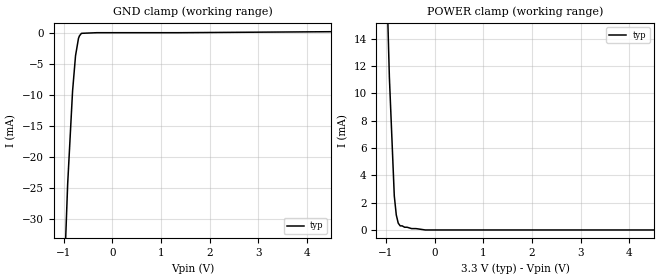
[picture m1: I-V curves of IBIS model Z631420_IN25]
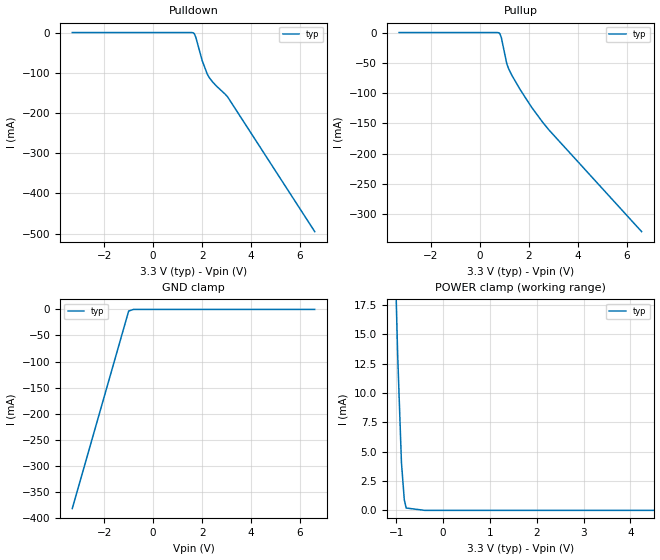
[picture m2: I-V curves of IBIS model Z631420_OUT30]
| YOU ARE ONLY AUTHORIZED TO USE THIS SOFTWARE
| ACCORDING TO LICENSOR'S LICENSE RESTRICTIONS.
[IBIS Ver] 3.1
[File Name] mc100ep451fa_33.ibs
[File Rev] 1
[Source] Derived from MC10EP016FA_33 Measured created by ICX Technology
[Date] 2/20/2004
[Copyright]
| (C) COPYRIGHT 1993-2000
| MENTOR GRAPHICS CORPORATION
| ICX STANDARD LIBRARY, ICX PROJECT MODELING,
| ICX CUSTOM MODELING, ICX VENDOR MODEL
| ALL RIGHTS RESERVED.
| THE FOLLOWING ARE TRADEMARKS OR SERVICE MARKS OF
| MENTOR GRAPHICS CORPORATION:ICX (R), ICX STANDARD
| LIBRARY(R), ICX PROJECT MODELING(R), ICX CUSTOM
| MODELING(R), qualityIBIS(TM), MODELVIEWER(TM),
| AND MODELEDITOR(TM)
| ALL COPIES OF SOFTWARE, INCLUDING BUT NOT LIMITED TO
| ANY MODIFICATIONS, ENHANCEMENTS OR DERIVATIVE WORKS,
| MUST CONTAIN ALL MENTOR GRAPHICS CORPORATION'S
| NOTICES AND LEGENDS, INCLUDING THOSE EMBEDDED IN
| SOFTWARE AND THOSE AFFIXED TO SOFTWARE MEDIUM
| AND CONTAINER, AS RECEIVED FROM MENTOR GRAPHICS
| CORPORATION.
|  ZAP Model Builder 2.8
[Component] MC100EP451FA_33
[Manufacturer] On Semiconductor
[Package]
| variable   typ   min   max
R_pkg  .067ohms NA NA
L_pkg  4.211nH NA NA
C_pkg  1.002pF NA NA
[Pin] signal_name  model_name  R_pin  L_pin C_pin
1 _D1 Z631420_IN25 .066 4.127n .978p
2 D0 Z631420_IN25 .066 4.127n .978p
3 _D0 Z631420_IN25 .066 4.127n .978p
4 CLK Z631420_IN25 .066 4.127n .978p
5 _CLK Z631420_IN25 .068 4.288n 1.027p
6 VCC POWER .065 3.973n .928p
7 Q0 Z631420_OUT30 .066 4.127n .978p
8 _Q0 Z631420_OUT30 .066 4.127n .978p
9 Q1 Z631420_OUT30 .066 4.127n .978p
10 _Q1 Z631420_OUT30 .066 4.127n .978p
11 Q2 Z631420_OUT30 .066 4.127n .978p
12 _Q2 Z631420_OUT30 .066 4.127n .978p
13 VCC POWER .065 3.973n .928p
14 Q3 Z631420_OUT30 .066 4.127n .978p
15 _Q3 Z631420_OUT30 .066 4.127n .978p
16 VCC POWER .065 3.973n .928p
17 Q4 Z631420_OUT30 .066 4.127n .978p
18 _Q4 Z631420_OUT30 .066 4.127n .978p
19 VEE POWER .065 3.973n .928p
20 Q5 Z631420_OUT30 .066 4.127n .978p
21 _Q5 Z631420_OUT30 .066 4.127n .978p
22 D5 Z631420_IN25 .066 4.127n .978p
23 _D5 Z631420_IN25 .066 4.127n .978p
24 D4 Z631420_IN25 .066 4.127n .978p
25 _D4 Z631420_IN25 .066 4.127n .978p
26 D3 Z631420_IN25 .066 4.127n .978p
27 _D3 Z631420_IN25 .066 4.127n .978p
28 VEE POWER .065 3.973n .928p
29 MR Z631420_IN25 .066 4.127n .978p
30 D2 Z631420_IN25 .066 4.127n .978p
31 _D2 Z631420_IN25 .066 4.127n .978p
32 D1 Z631420_IN25 .066 4.127n .978p
[Diff Pin] inv_pin vdiff tdelay_typ tdelay_min tdelay_max
2 3 200mv NA NA NA
4 5 200mv NA NA NA
22 23 200mv NA NA NA
24 25 200mv NA NA NA
26 27 200mv NA NA NA
30 31 200mv NA NA NA
32 1 200mv NA NA NA
7 8 NA NA NA NA
9 10 NA NA NA NA
11 12 NA NA NA NA
14 15 NA NA NA NA
17 18 NA NA NA NA
20 21 NA NA NA NA
| Models and submodels in the file (2): Z631420_IN25 (Input_ECL), Z631420_OUT30 (Output_ECL)
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| (C) COPYRIGHT 1993-2000
| MENTOR GRAPHICS CORPORATION
| ICX STANDARD LIBRARY, ICX PROJECT MODELING,
| ICX CUSTOM MODELING, ICX VENDOR MODEL
| ALL RIGHTS RESERVED.
| THE FOLLOWING ARE TRADEMARKS OR SERVICE MARKS OF
| MENTOR GRAPHICS CORPORATION:ICX (R), ICX STANDARD
| LIBRARY(R), ICX PROJECT MODELING(R), ICX CUSTOM
| MODELING(R), qualityIBIS(TM), MODELVIEWER(TM),
| AND MODELEDITOR(TM)
| ALL COPIES OF SOFTWARE, INCLUDING BUT NOT LIMITED TO
| ANY MODIFICATIONS, ENHANCEMENTS OR DERIVATIVE WORKS,
| MUST CONTAIN ALL MENTOR GRAPHICS CORPORATION'S
| NOTICES AND LEGENDS, INCLUDING THOSE EMBEDDED IN
| SOFTWARE AND THOSE AFFIXED TO SOFTWARE MEDIUM
| AND CONTAINER, AS RECEIVED FROM MENTOR GRAPHICS
| CORPORATION.
| Model Application Version 1.89 2/18/99.
[Model] Z631420_IN25
Model_type Input_ECL
Vinl = 1.675V
Vinh = 2.075V
C_comp 2.00pF NA NA
| variable typ   min   max
[Voltage Range] 3.300V NA NA
[GND Clamp Reference] 0.000V NA NA
[POWER Clamp Reference] 3.300V NA NA
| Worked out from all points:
|   GND clamp passes 1 mA (typ) near -0.70 V on its own axis
|   POWER clamp passes 1 mA (typ) near -0.78 V on its own axis
[GND Clamp]
-3.3V     -645.2mA   NA         NA
-1.058V   -54.7mA    NA         NA
-916mV    -24.4mA    NA         NA
-815mV    -9.4mA     NA         NA
-754mV    -3.7mA     NA         NA
-693mV    -900uA     NA         NA
-673mV    -500uA     NA         NA
-632mV    -100uA     NA         NA
-316mV    0A         NA         NA
1.354V    0A         NA         NA
6.6V      269.6uA    NA         NA
[POWER Clamp]
-3.3V     392.3mA    NA         NA
-1.034V   24.4mA     NA         NA
-932mV    11.2mA     NA         NA
-831mV    2.5mA      NA         NA
-790mV    1.1mA      NA         NA
-750mV    500uA      NA         NA
-709.5mV  300uA      NA         NA
-476mV    100uA      NA         NA
-192.5mV  0A         NA         NA
6.6V      0A         NA         NA
| (C) COPYRIGHT 1993-2000
| MENTOR GRAPHICS CORPORATION
| ICX STANDARD LIBRARY, ICX PROJECT MODELING,
| ICX CUSTOM MODELING, ICX VENDOR MODEL
| ALL RIGHTS RESERVED.
| THE FOLLOWING ARE TRADEMARKS OR SERVICE MARKS OF
| MENTOR GRAPHICS CORPORATION:ICX (R), ICX STANDARD
| LIBRARY(R), ICX PROJECT MODELING(R), ICX CUSTOM
| MODELING(R), qualityIBIS(TM), MODELVIEWER(TM),
| AND MODELEDITOR(TM)
| ALL COPIES OF SOFTWARE, INCLUDING BUT NOT LIMITED TO
| ANY MODIFICATIONS, ENHANCEMENTS OR DERIVATIVE WORKS,
| MUST CONTAIN ALL MENTOR GRAPHICS CORPORATION'S
| NOTICES AND LEGENDS, INCLUDING THOSE EMBEDDED IN
| SOFTWARE AND THOSE AFFIXED TO SOFTWARE MEDIUM
| AND CONTAINER, AS RECEIVED FROM MENTOR GRAPHICS
| CORPORATION.
| Model Application Version 1.89 2/18/99.
[Model] Z631420_OUT30
Model_type Output_ECL
Vref=1.300V
Rref=50.00ohms
Cref=0.000F
Vmeas=2.015V
C_comp 2.000pF NA NA
| variable typ   min   max
[Voltage Range] 3.300V NA NA
[POWER Clamp Reference] 3.300V NA NA
[Pullup Reference] 3.300V NA NA
[Pulldown Reference] 3.300V NA NA
[GND Clamp Reference] 0.000V NA NA
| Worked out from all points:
|   GND clamp passes 1 mA (typ) near -0.86 V on its own axis
|   POWER clamp passes 1 mA (typ) near -0.83 V on its own axis
[GND Clamp]
-3.3V     -381.8mA   NA         NA
-997mV    -3.038mA   NA         NA
-797.6mV  0A         NA         NA
6.6V      0A         NA         NA
[Pulldown]
-3.3V     0A         NA         NA
1.642V    -800uA     NA         NA
1.682V    -2.9mA     NA         NA
1.743V    -11.6mA    NA         NA
2.007V    -70.3mA    NA         NA
2.209V    -102.9mA   NA         NA
2.29V     -111.8mA   NA         NA
2.594V    -133.5mA   NA         NA
3.041V    -159.8mA   NA         NA
6.6V      -494.9mA   NA         NA
[Pullup]
-3.3V     0A         NA         NA
771mV     -400uA     NA         NA
811mV     -1.8mA     NA         NA
872mV     -8.3mA     NA         NA
1.095V    -51.5mA    NA         NA
1.175V    -60.2mA    NA         NA
1.297V    -70.2mA    NA         NA
1.642V    -94.2mA    NA         NA
2.108V    -123.2mA   NA         NA
2.817V    -160.7mA   NA         NA
6.6V      -328.4mA   NA         NA
[POWER Clamp]
-3.3V     446.4mA    NA         NA
-1.054V   25.7mA     NA         NA
-973mV    13.3mA     NA         NA
-892mV    4.1mA      NA         NA
-831mV    900uA      NA         NA
-791mV    200uA      NA         NA
-395.5mV  0A         NA         NA
6.6V      0A         NA         NA
[Ramp]
| variable typ min max
dV/dt_r 458.7m/144.6p NA NA
dV/dt_f 458.7m/136.0p NA NA
R_load = 50.00Ohms
